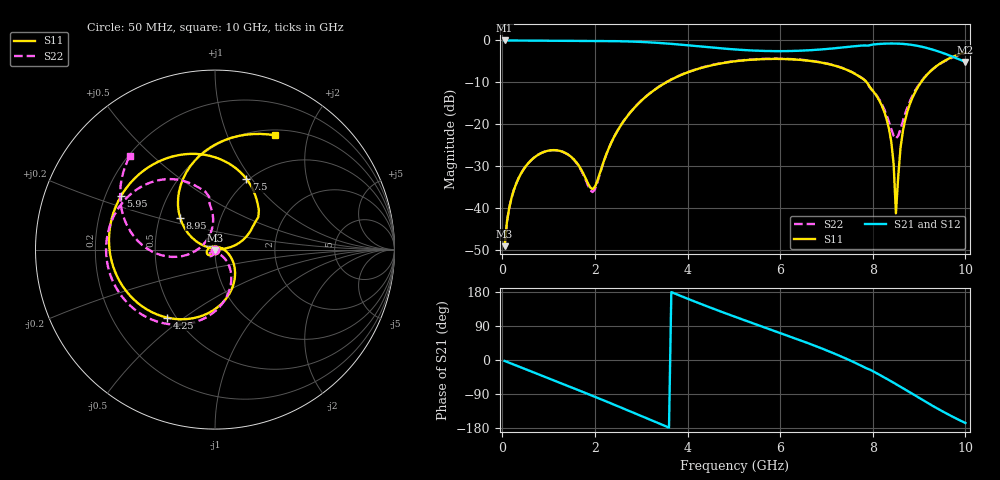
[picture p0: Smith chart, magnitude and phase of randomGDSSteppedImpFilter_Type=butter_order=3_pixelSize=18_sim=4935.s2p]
! freq	dB(S11)	phase(S11)	dB(S12)	phase(S12)
!  dB(S21)	phase(S21)	dB(S22)	phase(S22)
!S-par simulation data
#  GHz  S  DB  R 50
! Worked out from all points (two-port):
!   200 points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, 50 MHz to 10 GHz, reference 50 ohm
!   highest |S21| = 0.00 dB at 50 MHz (marker M1); lowest = -5.1 dB at 10 GHz (marker M2)
!   |S21| within 3 dB of the highest: start of sweep to 9.518 GHz
!   lowest |S11| = -49.0 dB at 50 MHz (marker M3), VSWR 1.01, Z = 50 - j0.355 ohm
!   |S11| at or under -10 dB: start of sweep to 3.537 GHz; 7.872 GHz to 9.039 GHz (1.168 GHz wide, 13.8 % of centre)
!   |S22| runs from -49.0 to -3.0 dB; largest |S21 - S12| = 0
!   S11 on the Smith chart (normalised r, x): 50 MHz: 1.00, -0.01; 4.25 GHz: 0.45, -0.43; 5.95 GHz: 0.26, +0.25; 7.5 GHz: 0.97, +0.94; 8.95 GHz: 0.64, +0.24; 10 GHz: 0.57, +1.50
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0.05  -48.99 -89.7  -0.00 -2.4  -0.00 -2.4  -48.97 -89.1
0.25  -35.61 -102.6  -0.02 -12.2  -0.02 -12.2  -35.59 -99.7
0.65  -28.25 -126.1  -0.05 -31.4  -0.05 -31.4  -28.23 -117.8
1.25  -26.31 -162.3  -0.08 -60.4  -0.08 -60.4  -26.33 -140.7
1.75  -31.69 148.8  -0.10 -84.8  -0.10 -84.8  -31.95 -141.9
1.95  -35.41 87.0  -0.11 -94.6  -0.11 -94.6  -36.10 -97.3
2.55  -20.39 -24.7  -0.19 -124.7  -0.19 -124.7  -20.36 -45.4
3.4  -10.92 -78.4  -0.60 -168.2  -0.60 -168.2  -10.87 -79.0
4.25  -6.69 -125.0  -1.40 149.7  -1.40 149.7  -6.64 -116.1
5.05  -4.93 -165.5  -2.16 112.9  -2.16 112.9  -4.87 -148.5
5.95  -4.40 150.5  -2.55 73.6  -2.55 73.6  -4.34 177.6
6.7  -4.94 112.2  -2.29 39.9  -2.29 39.9  -4.89 149.4
7.5  -7.30 66.2  -1.50 -0.6  -1.50 -0.6  -7.26 116.7
8.05  -12.68 29.1  -0.91 -32.6  -0.91 -32.6  -12.61 95.5
8.35  -21.03 9.0  -0.73 -53.0  -0.73 -53.0  -19.40 100.5
8.45  -29.35 6.1  -0.73 -60.0  -0.73 -60.0  -22.67 122.0
8.5  -41.16 46.0  -0.74 -63.5  -0.74 -63.5  -23.38 141.3
8.6  -25.46 161.6  -0.79 -70.7  -0.79 -70.7  -21.06 175.4
8.65  -21.61 159.4  -0.82 -74.3  -0.82 -74.3  -19.20 -176.0
8.95  -11.57 137.5  -1.25 -96.3  -1.25 -96.3  -11.30 -172.0
9.45  -5.53 99.4  -2.74 -131.8  -2.74 -131.8  -5.60 162.5
10  -2.87 62.4  -5.12 -166.2  -5.12 -166.2  -3.03 132.2
